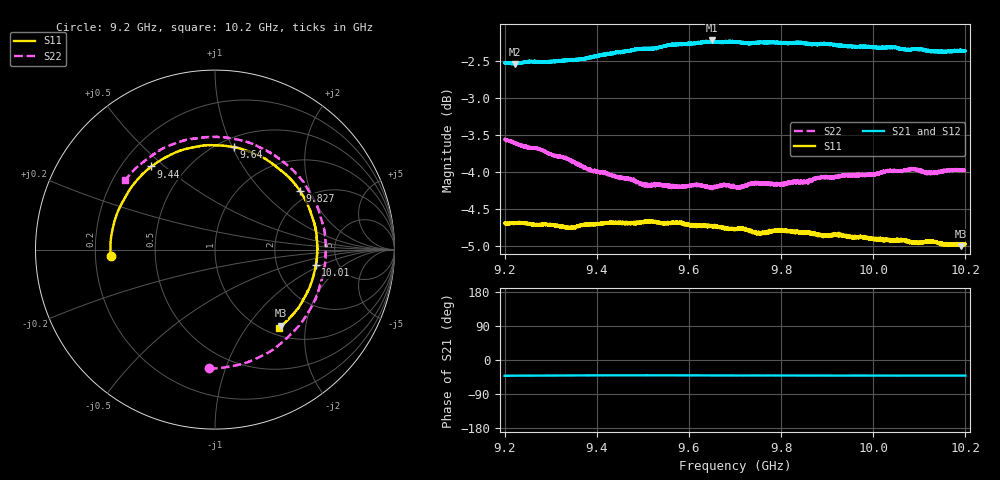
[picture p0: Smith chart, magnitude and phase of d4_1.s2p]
!Agilent Technologies,N5242A,MY51221714,A.09.90.19
!Agilent N5242A: A.09.90.19
!Date: Tuesday, March 26, 2024 17:10:03
!Correction: S11(Full 2 Port(1,2))
!S21(Full 2 Port(1,2))
!S12(Full 2 Port(1,2))
!S22(Full 2 Port(1,2))
!S2P File: Measurements: S11, S21, S12, S22:
# Hz S  dB  R 50
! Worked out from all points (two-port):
!   16001 points, 9.2 GHz to 10.2 GHz, reference 50 ohm
!   highest |S21| = -2.23 dB at 9.65 GHz (marker M1); lowest = -2.5 dB at 9.223 GHz (marker M2)
!   |S21| within 3 dB of the highest: start of sweep to end of sweep
!   lowest |S11| = -5.0 dB at 10.19 GHz (marker M3), VSWR 3.57, Z = 59.2 - j73.4 ohm
!   |S11| at or under -10 dB: nowhere
!   |S22| runs from -4.2 to -3.5 dB; largest |S21 - S12| = 0.012
!   S11 on the Smith chart (normalised r, x): 9.2 GHz: 0.26, -0.03; 9.44 GHz: 0.32, +0.45; 9.64 GHz: 0.59, +1.01; 9.827 GHz: 1.74, +1.70; 10.01 GHz: 3.38, -0.85; 10.2 GHz: 1.12, -1.44
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9.2e9  -4.69 -176.3  -2.52 -41.6  -2.51 -42.2  -3.57 -92.7
9.223062e9  -4.70 178.3  -2.55 -41.4  -2.52 -42.1  -3.62 -87.3
9.286188e9  -4.71 163.4  -2.52 -41.2  -2.51 -41.8  -3.72 -72.4
9.332125e9  -4.75 152.7  -2.49 -40.9  -2.46 -41.5  -3.81 -61.2
9.366688e9  -4.71 144.8  -2.48 -40.7  -2.46 -41.4  -3.92 -52.9
9.439875e9  -4.67 127.5  -2.40 -40.3  -2.40 -41.1  -4.09 -34.9
9.477875e9  -4.69 118.6  -2.35 -40.4  -2.36 -41.1  -4.10 -25.5
9.533375e9  -4.68 105.2  -2.32 -40.4  -2.31 -41.0  -4.16 -11.4
9.592688e9  -4.70 91.0  -2.28 -40.6  -2.26 -41.1  -4.21 3.1
9.640438e9  -4.73 79.7  -2.24 -40.6  -2.24 -41.2  -4.20 14.6
9.649562e9  -4.71 77.4  -2.23 -40.7  -2.25 -41.3  -4.20 17.0
9.7e9  -4.76 65.2  -2.24 -40.9  -2.23 -41.4  -4.20 29.1
9.753625e9  -4.82 52.4  -2.24 -40.9  -2.24 -41.5  -4.15 41.8
9.826688e9  -4.80 34.6  -2.26 -40.9  -2.27 -41.5  -4.14 59.4
9.866688e9  -4.82 25.0  -2.26 -41.0  -2.27 -41.5  -4.11 68.5
9.9365e9  -4.86 8.4  -2.29 -41.1  -2.30 -41.6  -4.03 84.6
1.001081e10  -4.93 -8.7  -2.32 -41.1  -2.31 -41.6  -4.01 101.2
1.003338e10  -4.93 -13.9  -2.32 -41.0  -2.32 -41.7  -3.98 106.1
1.009662e10  -4.95 -28.2  -2.34 -41.2  -2.34 -41.7  -3.97 120.0
1.012981e10  -4.93 -35.6  -2.37 -41.2  -2.38 -41.7  -4.00 127.5
1.019038e10  -5.00 -48.9  -2.38 -41.1  -2.36 -41.7  -3.97 140.3
1.02e10  -4.97 -51.0  -2.36 -41.2  -2.36 -41.7  -3.98 142.5
